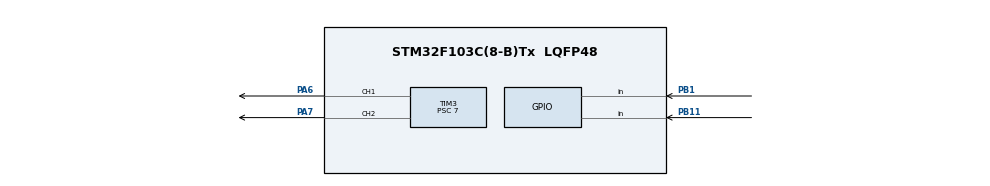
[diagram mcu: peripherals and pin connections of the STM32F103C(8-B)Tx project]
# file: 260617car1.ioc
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Mcu.Family=STM32F1
Mcu.Name=STM32F103C(8-B)Tx
Mcu.Package=LQFP48
NVIC.PriorityGroup=NVIC_PRIORITYGROUP_4
NVIC.TIM2_IRQn=true\:0\:0\:false\:false\:true\:true\:true\:true
PA13.Mode=Serial_Wire
PA13.Signal=SYS_JTMS-SWDIO
PA14.Mode=Serial_Wire
PA14.Signal=SYS_JTCK-SWCLK
PA6.Signal=S_TIM3_CH1
PA7.Signal=S_TIM3_CH2
PB1.GPIO_PuPd=GPIO_PULLUP
PB1.Signal=GPIO_Input
PB11.GPIO_PuPd=GPIO_PULLUP
PB11.Signal=GPIO_Input
ProjectManager.HeapSize=0x200
ProjectManager.StackSize=0x400
ProjectManager.TargetToolchain=CMake
RCC.APB1Freq_Value=8000000
RCC.APB2Freq_Value=8000000
SH.S_TIM3_CH1.0=TIM3_CH1,PWM Generation1 CH1
SH.S_TIM3_CH2.0=TIM3_CH2,PWM Generation2 CH2
TIM2.Period=999
TIM2.Prescaler=7
TIM3.Channel-PWM\ Generation1\ CH1=TIM_CHANNEL_1
TIM3.Channel-PWM\ Generation2\ CH2=TIM_CHANNEL_2
TIM3.Period=1000-1
TIM3.Prescaler=7
VP_TIM2_VS_ClockSourceINT.Mode=Internal
board=custom

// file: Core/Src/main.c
/* USER CODE BEGIN Header */
/**
  ******************************************************************************
  * @file           : main.c
  * @brief          : Main program body
  ******************************************************************************
  * @attention
  *
  * Copyright (c) 2026 STMicroelectronics.
  * All rights reserved.
  *
  * This software is licensed under terms that can be found in the LICENSE file
  * in the root directory of this software component.
  * If no LICENSE file comes with this software, it is provided AS-IS.
  *
  ******************************************************************************
  */
/* USER CODE END Header */
#include "main.h"

TIM_HandleTypeDef htim2;
TIM_HandleTypeDef htim3;

void SystemClock_Config(void);
static void MX_GPIO_Init(void);
static void MX_TIM3_Init(void);
static void MX_TIM2_Init(void);

/* USER CODE BEGIN 0 */

/* PWM 设置 LED 亮度 */
static void led_red(uint16_t val)   { __HAL_TIM_SET_COMPARE(&htim3, TIM_CHANNEL_1, val); }
static void led_green(uint16_t val) { __HAL_TIM_SET_COMPARE(&htim3, TIM_CHANNEL_2, val); }

/* ---- 所有PWM由ISR统一写，主循环只改下面这些状态变量 ---- */
volatile uint8_t rgb_state      = 0;   // 0:绿常亮 1:红常亮 2:绿呼吸（ISR读）
static uint8_t   saved_state    = 0;   // 按键2打断前保存的状态（主循环专用）
volatile uint8_t button2_active = 0;   // 按键2正在按住中（ISR读）
volatile uint16_t breath_timer = 0;    // ISR里0..3999循环（4000步=4秒）

/* USER CODE END 0 */

int main(void)
{
  /* USER CODE BEGIN 1 */
  #test
  /* USER CODE END 1 */

  /* MCU Configuration--------------------------------------------------------*/

  /* Reset of all peripherals, Initializes the Flash interface and the Systick. */
  HAL_Init();

  /* Configure the system clock */
  SystemClock_Config();

  /* Initialize all configured peripherals */
  MX_GPIO_Init();
  MX_TIM3_Init();
  MX_TIM2_Init();
  /* USER CODE BEGIN 2 */
  /* 启动 PWM 和 1ms 中断，之后所有 LED 由 ISR 写 */
  HAL_TIM_PWM_Start(&htim3, TIM_CHANNEL_1);
  HAL_TIM_PWM_Start(&htim3, TIM_CHANNEL_2);
  HAL_TIM_Base_Start_IT(&htim2);
  /* USER CODE END 2 */

  /* Infinite loop */
  /* USER CODE BEGIN WHILE */
  while (1)
  {
    /* ========== 按键1 PB11 — 短按切换灯效（按键2按住时让步） ========== */
    if (!button2_active && HAL_GPIO_ReadPin(GPIOB, GPIO_PIN_11) == GPIO_PIN_RESET)
    {
      HAL_Delay(20);                                // 消抖
      if (HAL_GPIO_ReadPin(GPIOB, GPIO_PIN_11) == GPIO_PIN_RESET)
      {
        /* 等待松手消抖 */
        while (HAL_GPIO_ReadPin(GPIOB, GPIO_PIN_11) == GPIO_PIN_RESET);
        HAL_Delay(20);

        rgb_state = (rgb_state + 1) % 3;            // 0→1→2→0...
        if (rgb_state == 2) breath_timer = 0;     // 进呼吸从头开始
      }
    }

    /* ========== 按键2 PB1 — 长按亮绿灯，松手灭（打断按键1，松手恢复） ========== */
    if (HAL_GPIO_ReadPin(GPIOB, GPIO_PIN_1) == GPIO_PIN_RESET)
    {
      HAL_Delay(50);                                // 长按确认+消抖
      if (HAL_GPIO_ReadPin(GPIOB, GPIO_PIN_1) == GPIO_PIN_RESET)
      {
        button2_active = 1;                       // ISR看到此标志输出纯绿灯
        saved_state    = rgb_state;

        while (HAL_GPIO_ReadPin(GPIOB, GPIO_PIN_1) == GPIO_PIN_RESET);  // 等待松手

        rgb_state      = saved_state;                  // 恢复原状态
        button2_active = 0;                            // ISR恢复按rgb_state输出
        if (rgb_state == 2) breath_timer = 0;          // 呼吸从头开始
      }
    }

    /* 呼吸灯PWM由TIM2 ISR每1ms更新，主循环不干预 */
    /* USER CODE END WHILE */

  }
}

void SystemClock_Config(void)
{
  RCC_OscInitTypeDef RCC_OscInitStruct = {0};
  RCC_ClkInitTypeDef RCC_ClkInitStruct = {0};

  /** Initializes the RCC Oscillators according to the specified parameters
  * in the RCC_OscInitTypeDef structure.
  */
  RCC_OscInitStruct.OscillatorType = RCC_OSCILLATORTYPE_HSI;
  RCC_OscInitStruct.HSIState = RCC_HSI_ON;
  RCC_OscInitStruct.HSICalibrationValue = RCC_HSICALIBRATION_DEFAULT;
  RCC_OscInitStruct.PLL.PLLState = RCC_PLL_NONE;
  if (HAL_RCC_OscConfig(&RCC_OscInitStruct) != HAL_OK)
  {
    Error_Handler();
  }

  /** Initializes the CPU, AHB and APB buses clocks
  */
  RCC_ClkInitStruct.ClockType = RCC_CLOCKTYPE_HCLK|RCC_CLOCKTYPE_SYSCLK
                              |RCC_CLOCKTYPE_PCLK1|RCC_CLOCKTYPE_PCLK2;
  RCC_ClkInitStruct.SYSCLKSource = RCC_SYSCLKSOURCE_HSI;
  RCC_ClkInitStruct.AHBCLKDivider = RCC_SYSCLK_DIV1;
  RCC_ClkInitStruct.APB1CLKDivider = RCC_HCLK_DIV1;
  RCC_ClkInitStruct.APB2CLKDivider = RCC_HCLK_DIV1;

  if (HAL_RCC_ClockConfig(&RCC_ClkInitStruct, FLASH_LATENCY_0) != HAL_OK)
  {
    Error_Handler();
  }
}

static void MX_TIM2_Init(void)
{

  TIM_ClockConfigTypeDef sClockSourceConfig = {0};
  TIM_MasterConfigTypeDef sMasterConfig = {0};

  htim2.Instance = TIM2;
  htim2.Init.Prescaler = 7;
  htim2.Init.CounterMode = TIM_COUNTERMODE_UP;
  htim2.Init.Period = 999;
  htim2.Init.ClockDivision = TIM_CLOCKDIVISION_DIV1;
  htim2.Init.AutoReloadPreload = TIM_AUTORELOAD_PRELOAD_DISABLE;
  if (HAL_TIM_Base_Init(&htim2) != HAL_OK)
  {
    Error_Handler();
  }
  sClockSourceConfig.ClockSource = TIM_CLOCKSOURCE_INTERNAL;
  if (HAL_TIM_ConfigClockSource(&htim2, &sClockSourceConfig) != HAL_OK)
  {
    Error_Handler();
  }
  sMasterConfig.MasterOutputTrigger = TIM_TRGO_RESET;
  sMasterConfig.MasterSlaveMode = TIM_MASTERSLAVEMODE_DISABLE;
  if (HAL_TIMEx_MasterConfigSynchronization(&htim2, &sMasterConfig) != HAL_OK)
  {
    Error_Handler();
  }

}

static void MX_TIM3_Init(void)
{

  TIM_MasterConfigTypeDef sMasterConfig = {0};
  TIM_OC_InitTypeDef sConfigOC = {0};

  htim3.Instance = TIM3;
  htim3.Init.Prescaler = 7;
  htim3.Init.CounterMode = TIM_COUNTERMODE_UP;
  htim3.Init.Period = 1000-1;
  htim3.Init.ClockDivision = TIM_CLOCKDIVISION_DIV1;
  htim3.Init.AutoReloadPreload = TIM_AUTORELOAD_PRELOAD_DISABLE;
  if (HAL_TIM_PWM_Init(&htim3) != HAL_OK)
  {
    Error_Handler();
  }
  sMasterConfig.MasterOutputTrigger = TIM_TRGO_RESET;
  sMasterConfig.MasterSlaveMode = TIM_MASTERSLAVEMODE_DISABLE;
  if (HAL_TIMEx_MasterConfigSynchronization(&htim3, &sMasterConfig) != HAL_OK)
  {
    Error_Handler();
  }
  sConfigOC.OCMode = TIM_OCMODE_PWM1;
  sConfigOC.Pulse = 0;
  sConfigOC.OCPolarity = TIM_OCPOLARITY_HIGH;
  sConfigOC.OCFastMode = TIM_OCFAST_DISABLE;
  if (HAL_TIM_PWM_ConfigChannel(&htim3, &sConfigOC, TIM_CHANNEL_1) != HAL_OK)
  {
    Error_Handler();
  }
  if (HAL_TIM_PWM_ConfigChannel(&htim3, &sConfigOC, TIM_CHANNEL_2) != HAL_OK)
  {
    Error_Handler();
  }
  HAL_TIM_MspPostInit(&htim3);

}

static void MX_GPIO_Init(void)
{
  GPIO_InitTypeDef GPIO_InitStruct = {0};

  /* GPIO Ports Clock Enable */
  __HAL_RCC_GPIOA_CLK_ENABLE();
  __HAL_RCC_GPIOB_CLK_ENABLE();

  /*Configure GPIO pins : PB1 PB11 */
  GPIO_InitStruct.Pin = GPIO_PIN_1|GPIO_PIN_11;
  GPIO_InitStruct.Mode = GPIO_MODE_INPUT;
  GPIO_InitStruct.Pull = GPIO_PULLUP;
  HAL_GPIO_Init(GPIOB, &GPIO_InitStruct);

}

/* USER CODE BEGIN 4 */

/* TIM2 1ms中断：唯一写PWM的地方（红CH1+绿CH2），避免多写冲突 */
void HAL_TIM_PeriodElapsedCallback(TIM_HandleTypeDef *htim)
{
  if (htim->Instance != TIM2) return;

  uint16_t red, green;

  if (button2_active)
  {
    /* 按键2按住 → 纯绿灯 */
    red = 0; green = 999;
  }
  else if (rgb_state == 0)
  {
    red = 0; green = 999;                          // 绿常亮
  }
  else if (rgb_state == 1)
  {
    red = 999; green = 0;                          // 红常亮
  }
  else /* rgb_state == 2 */
  {
    /* 呼吸灯：前2秒渐亮，后2秒渐暗 */
    if (++breath_timer >= 4000) breath_timer = 0;
    uint16_t t = breath_timer;
    if (t < 2000)
      green = t * 999 / 2000;
    else
      green = (4000 - t) * 999 / 2000;
    red = 0;
  }

  __HAL_TIM_SET_COMPARE(&htim3, TIM_CHANNEL_1, red);
  __HAL_TIM_SET_COMPARE(&htim3, TIM_CHANNEL_2, green);
}

/* USER CODE END 4 */

void Error_Handler(void)
{
  __disable_irq();
  while (1)
  {
  }
}
